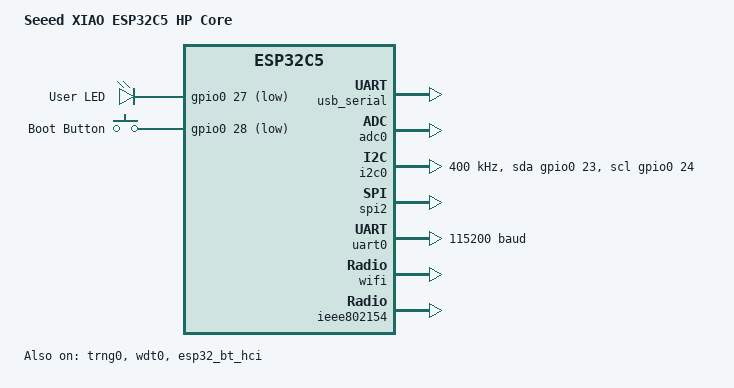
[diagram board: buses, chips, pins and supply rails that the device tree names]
/*
 * SPDX-FileCopyrightText: Copyright The Zephyr Project Contributors
 * SPDX-License-Identifier: Apache-2.0
 */

/dts-v1/;

#include <espressif/esp32c5/esp32c5_wroom_n8r8.dtsi>
#include "xiao_esp32c5-pinctrl.dtsi"
#include <zephyr/dt-bindings/input/input-event-codes.h>
#include <espressif/partitions_0x2000_default_8M.dtsi>
#include "seeed_xiao_connector.dtsi"

/ {
	model = "Seeed XIAO ESP32C5 HP Core";
	compatible = "seeed,xiao-esp32c5";

	chosen {
		zephyr,sram = &sramhp;
		zephyr,console = &usb_serial;
		zephyr,shell-uart = &usb_serial;
		zephyr,flash = &flash0;
		zephyr,code-partition = &slot0_partition;
		zephyr,ieee802154 = &ieee802154;
	};

	leds: leds {
		compatible = "gpio-leds";

		yellow_led: led_0 {
			gpios = <&gpio0 27 GPIO_ACTIVE_LOW>;
			label = "User LED";
		};
	};

	aliases {
		led0 = &yellow_led;
		watchdog0 = &wdt0;
	};

	gpio_keys {
		compatible = "gpio-keys";

		boot_button: button {
			label = "Boot Button";
			gpios = <&gpio0 28 (GPIO_PULL_UP | GPIO_ACTIVE_LOW)>;
			zephyr,code = <INPUT_KEY_0>;
		};
	};
};

&trng0 {
	status = "okay";
};

&gpio0 {
	status = "okay";
};

&wdt0 {
	status = "okay";
};

&usb_serial {
	status = "okay";
};

&adc0 {
	status = "okay";
};

&i2c0 {
	status = "okay";
	clock-frequency = <I2C_BITRATE_FAST>;
	scl-gpios = <&gpio0 24 GPIO_OPEN_DRAIN>;
	sda-gpios = <&gpio0 23 GPIO_OPEN_DRAIN>;
	pinctrl-0 = <&i2c0_default>;
	pinctrl-names = "default";
};

&spi2 {
	#address-cells = <1>;
	#size-cells = <0>;
	status = "okay";
	pinctrl-0 = <&spim2_default>;
	pinctrl-names = "default";
};

&uart0 {
	status = "okay";
	current-speed = <115200>;
	pinctrl-0 = <&uart0_default>;
	pinctrl-names = "default";
};

&wifi {
	status = "okay";
};

&ieee802154 {
	status = "okay";
};

&esp32_bt_hci {
	status = "okay";
};
